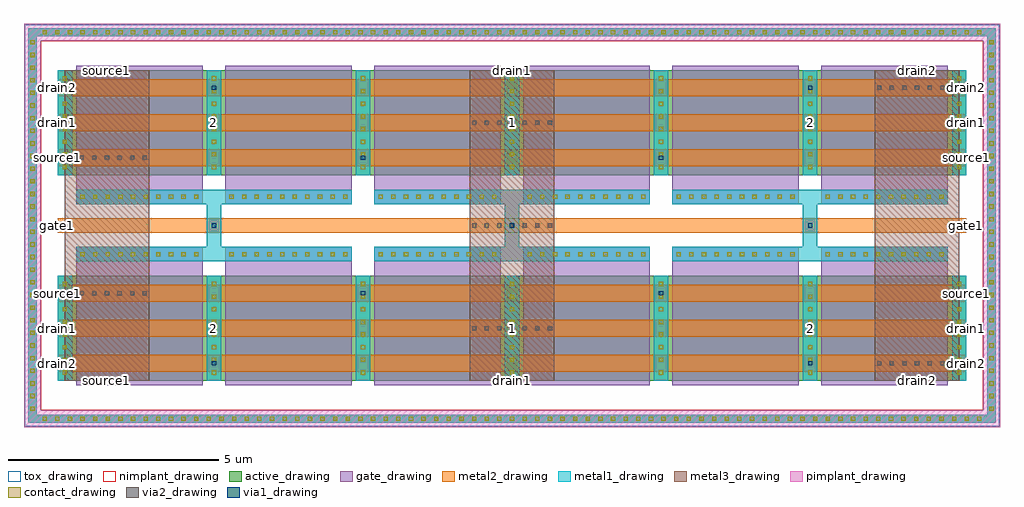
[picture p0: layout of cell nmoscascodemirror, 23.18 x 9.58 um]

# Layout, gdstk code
import gdstk
lib = gdstk.Library(unit=1e-6, precision=1e-09)
def R(c, l, rs):  # rectangles x0, y0, x1, y1
    for r in rs: c.add(gdstk.rectangle(r[:2], r[2:], *l))
def A(c, l, x, y, w, h, nx, ny, dx, dy):  # array of equal rectangles
    R(c, l, [(x+i*dx, y+j*dy, x+i*dx+w, y+j*dy+h) for i in range(nx) for j in range(ny)])
active_drawing = (1, 0)
pimplant_drawing = (4, 0)
nimplant_drawing = (5, 0)
gate_drawing = (6, 0)
contact_drawing = (7, 0)
metal1_drawing = (8, 0)
via1_drawing = (9, 0)
metal2_drawing = (10, 0)
via2_drawing = (11, 0)
metal3_drawing = (12, 0)
tox_drawing = (32, 0)

nmoscascodemirror = lib.new_cell('nmoscascodemirror')
A(nmoscascodemirror, active_drawing, -0.44, 0, 7.42, 2.5, 3, 2, 7.08, 4.88)
R(nmoscascodemirror, active_drawing, [(-1.14,-1,21.84,-0.8), (-1.14,-1,-0.94,8.38), (21.64,-1,21.84,8.38), (-1.14,8.18,21.84,8.38)])
R(nmoscascodemirror, pimplant_drawing, [(-1.24,-1.1,21.94,-0.7), (-1.24,-1.1,-0.84,8.48), (21.54,-1.1,21.94,8.48), (-1.24,8.08,21.94,8.48)])
R(nmoscascodemirror, nimplant_drawing, [(-0.84,-0.7,21.54,8.08)])
A(nmoscascodemirror, gate_drawing, 0, -0.1, 3, 3.28, 6, 2, 3.54, 4.3)
A(nmoscascodemirror, contact_drawing, -0.8, -0.95, 0.1, 0.1, 75, 2, 0.3, 9.18)
A(nmoscascodemirror, contact_drawing, -1.09, -0.71, 0.1, 0.1, 1, 30, 0, 0.3)
A(nmoscascodemirror, contact_drawing, 21.69, -0.71, 0.1, 0.1, 1, 30, 0, 0.3)
A(nmoscascodemirror, contact_drawing, -0.32, 0.15, 0.1, 0.1, 3, 8, 3.54, 0.3)
A(nmoscascodemirror, contact_drawing, 6.76, 0.15, 0.1, 0.1, 3, 8, 3.54, 0.3)
A(nmoscascodemirror, contact_drawing, 13.84, 0.15, 0.1, 0.1, 3, 8, 3.54, 0.3)
A(nmoscascodemirror, contact_drawing, 0.1, 2.96, 0.1, 0.1, 10, 2, 0.3, 1.36)
A(nmoscascodemirror, contact_drawing, 3.64, 2.96, 0.1, 0.1, 10, 2, 0.3, 1.36)
A(nmoscascodemirror, contact_drawing, 7.18, 2.96, 0.1, 0.1, 10, 2, 0.3, 1.36)
A(nmoscascodemirror, contact_drawing, 10.72, 2.96, 0.1, 0.1, 10, 2, 0.3, 1.36)
A(nmoscascodemirror, contact_drawing, 14.26, 2.96, 0.1, 0.1, 10, 2, 0.3, 1.36)
A(nmoscascodemirror, contact_drawing, 17.8, 2.96, 0.1, 0.1, 10, 2, 0.3, 1.36)
A(nmoscascodemirror, contact_drawing, -0.32, 5.03, 0.1, 0.1, 3, 8, 3.54, 0.3)
A(nmoscascodemirror, contact_drawing, 6.76, 5.03, 0.1, 0.1, 3, 8, 3.54, 0.3)
A(nmoscascodemirror, contact_drawing, 13.84, 5.03, 0.1, 0.1, 3, 8, 3.54, 0.3)
A(nmoscascodemirror, metal1_drawing, -0.44, 0, 0.34, 2.5, 3, 2, 3.54, 4.88)
A(nmoscascodemirror, metal1_drawing, 6.64, 0, 0.34, 2.5, 3, 2, 3.54, 4.88)
A(nmoscascodemirror, metal1_drawing, 13.72, 0, 0.34, 2.5, 3, 2, 3.54, 4.88)
A(nmoscascodemirror, metal1_drawing, 3.1, 3.18, 0.34, 0.34, 3, 2, 7.08, 0.68)
R(nmoscascodemirror, metal1_drawing, [(-1.14,-1,21.84,-0.8), (-1.14,-1,-0.94,8.38), (21.64,-1,21.84,8.38), (3.1,0.218,3.44,0.618), (17.26,0.218,17.6,0.618), (10.18,1.05,10.52,1.45), (-0.44,1.882,-0.1,2.282), (6.64,1.882,6.98,2.282), (6.64,1.882,6.98,2.282), (13.72,1.882,14.06,2.282), (13.72,1.882,14.06,2.282), (20.8,1.882,21.14,2.282), (0,2.84,6.54,3.18), (0,2.84,6.54,3.18), (7.08,2.84,13.62,3.18), (7.08,2.84,13.62,3.18), (14.16,2.84,20.7,3.18), (14.16,2.84,20.7,3.18), (3.1,3.52,3.44,3.86), (3.1,3.52,3.44,3.86), (10.18,3.52,10.52,3.86), (10.18,3.52,10.52,3.86), (17.26,3.52,17.6,3.86), (17.26,3.52,17.6,3.86), (0,4.2,6.54,4.54), (0,4.2,6.54,4.54), (7.08,4.2,13.62,4.54), (7.08,4.2,13.62,4.54), (14.16,4.2,20.7,4.54), (14.16,4.2,20.7,4.54), (-0.44,5.098,-0.1,5.498), (6.64,5.098,6.98,5.498), (6.64,5.098,6.98,5.498), (13.72,5.098,14.06,5.498), (13.72,5.098,14.06,5.498), (20.8,5.098,21.14,5.498), (10.18,5.93,10.52,6.33), (3.1,6.762,3.44,7.162), (17.26,6.762,17.6,7.162), (-1.14,8.18,21.84,8.38)])
R(nmoscascodemirror, via1_drawing, [(3.22,0.368,3.32,0.468), (17.38,0.368,17.48,0.468), (10.3,1.2,10.4,1.3), (-0.32,2.032,-0.22,2.132), (6.76,2.032,6.86,2.132), (6.76,2.032,6.86,2.132), (13.84,2.032,13.94,2.132), (13.84,2.032,13.94,2.132), (20.92,2.032,21.02,2.132), (3.22,3.64,3.32,3.74), (3.22,3.64,3.32,3.74), (10.3,3.64,10.4,3.74), (10.3,3.64,10.4,3.74), (17.38,3.64,17.48,3.74), (17.38,3.64,17.48,3.74), (-0.32,5.248,-0.22,5.348), (6.76,5.248,6.86,5.348), (6.76,5.248,6.86,5.348), (13.84,5.248,13.94,5.348), (13.84,5.248,13.94,5.348), (20.92,5.248,21.02,5.348), (10.3,6.08,10.4,6.18), (3.22,6.912,3.32,7.012), (17.38,6.912,17.48,7.012)])
A(nmoscascodemirror, metal2_drawing, -0.44, 0.218, 21.58, 0.4, 1, 3, 0, 0.832)
A(nmoscascodemirror, metal2_drawing, -0.44, 5.098, 21.58, 0.4, 1, 3, 0, 0.832)
R(nmoscascodemirror, metal2_drawing, [(3.1,0.218,3.44,0.618), (17.26,0.218,17.6,0.618), (10.18,1.05,10.52,1.45), (-0.44,1.882,-0.1,2.282), (6.64,1.882,6.98,2.282), (6.64,1.882,6.98,2.282), (13.72,1.882,14.06,2.282), (13.72,1.882,14.06,2.282), (20.8,1.882,21.14,2.282), (-0.44,3.52,21.14,3.86), (3.1,3.52,3.44,3.86), (3.1,3.52,3.44,3.86), (10.18,3.52,10.52,3.86), (10.18,3.52,10.52,3.86), (17.26,3.52,17.6,3.86), (17.26,3.52,17.6,3.86), (-0.44,5.098,-0.1,5.498), (6.64,5.098,6.98,5.498), (6.64,5.098,6.98,5.498), (13.72,5.098,14.06,5.498), (13.72,5.098,14.06,5.498), (20.8,5.098,21.14,5.498), (10.18,5.93,10.52,6.33), (3.1,6.762,3.44,7.162), (17.26,6.762,17.6,7.162)])
A(nmoscascodemirror, via2_drawing, 19.02, 0.368, 0.1, 0.1, 7, 2, 0.3, 6.544)
A(nmoscascodemirror, via2_drawing, 9.4, 1.2, 0.1, 0.1, 7, 2, 0.3, 4.88)
A(nmoscascodemirror, via2_drawing, -0.22, 2.032, 0.1, 0.1, 7, 2, 0.3, 3.216)
R(nmoscascodemirror, via2_drawing, [(9.4,3.64,9.5,3.74), (9.4,3.64,9.5,3.74), (9.4,3.64,9.5,3.74), (9.4,3.64,9.5,3.74), (9.4,3.64,9.5,3.74), (9.4,3.64,9.5,3.74), (9.7,3.64,9.8,3.74), (9.7,3.64,9.8,3.74), (9.7,3.64,9.8,3.74), (9.7,3.64,9.8,3.74), (9.7,3.64,9.8,3.74), (9.7,3.64,9.8,3.74), (10,3.64,10.1,3.74), (10,3.64,10.1,3.74), (10,3.64,10.1,3.74), (10,3.64,10.1,3.74), (10,3.64,10.1,3.74), (10,3.64,10.1,3.74), (10.3,3.64,10.4,3.74), (10.3,3.64,10.4,3.74), (10.3,3.64,10.4,3.74), (10.3,3.64,10.4,3.74), (10.3,3.64,10.4,3.74), (10.3,3.64,10.4,3.74), (10.6,3.64,10.7,3.74), (10.6,3.64,10.7,3.74), (10.6,3.64,10.7,3.74), (10.6,3.64,10.7,3.74), (10.6,3.64,10.7,3.74), (10.6,3.64,10.7,3.74), (10.9,3.64,11,3.74), (10.9,3.64,11,3.74), (10.9,3.64,11,3.74), (10.9,3.64,11,3.74), (10.9,3.64,11,3.74), (10.9,3.64,11,3.74), (11.2,3.64,11.3,3.74), (11.2,3.64,11.3,3.74), (11.2,3.64,11.3,3.74), (11.2,3.64,11.3,3.74), (11.2,3.64,11.3,3.74), (11.2,3.64,11.3,3.74)])
A(nmoscascodemirror, metal3_drawing, -0.27, 0, 2, 7.38, 3, 1, 9.62, 0)
R(nmoscascodemirror, tox_drawing, [(-1.22,-1.08,21.92,8.46)])
nmoscascodemirror.add(gdstk.Label('2', (3.27,1.25), layer=234, texttype=0))
nmoscascodemirror.add(gdstk.Label('1', (10.35,1.25), layer=234, texttype=0))
nmoscascodemirror.add(gdstk.Label('2', (17.43,1.25), layer=234, texttype=0))
nmoscascodemirror.add(gdstk.Label('2', (3.27,6.13), layer=234, texttype=0))
nmoscascodemirror.add(gdstk.Label('1', (10.35,6.13), layer=234, texttype=0))
nmoscascodemirror.add(gdstk.Label('2', (17.43,6.13), layer=234, texttype=0))
nmoscascodemirror.add(gdstk.Label('gate1', (-0.44,3.69), layer=10, texttype=0))
nmoscascodemirror.add(gdstk.Label('gate1', (21.14,3.69), layer=10, texttype=0))
nmoscascodemirror.add(gdstk.Label('source1', (-0.44,2.082), layer=10, texttype=0))
nmoscascodemirror.add(gdstk.Label('source1', (21.14,2.082), layer=10, texttype=0))
nmoscascodemirror.add(gdstk.Label('drain1', (-0.44,1.25), layer=10, texttype=0))
nmoscascodemirror.add(gdstk.Label('drain1', (21.14,1.25), layer=10, texttype=0))
nmoscascodemirror.add(gdstk.Label('drain2', (-0.44,0.418), layer=10, texttype=0))
nmoscascodemirror.add(gdstk.Label('drain2', (21.14,0.418), layer=10, texttype=0))
nmoscascodemirror.add(gdstk.Label('source1', (-0.44,5.298), layer=10, texttype=0))
nmoscascodemirror.add(gdstk.Label('source1', (21.14,5.298), layer=10, texttype=0))
nmoscascodemirror.add(gdstk.Label('drain1', (-0.44,6.13), layer=10, texttype=0))
nmoscascodemirror.add(gdstk.Label('drain1', (21.14,6.13), layer=10, texttype=0))
nmoscascodemirror.add(gdstk.Label('drain2', (-0.44,6.962), layer=10, texttype=0))
nmoscascodemirror.add(gdstk.Label('drain2', (21.14,6.962), layer=10, texttype=0))
nmoscascodemirror.add(gdstk.Label('source1', (0.73,0), layer=12, texttype=0))
nmoscascodemirror.add(gdstk.Label('source1', (0.73,7.38), layer=12, texttype=0))
nmoscascodemirror.add(gdstk.Label('drain1', (10.35,0), layer=12, texttype=0))
nmoscascodemirror.add(gdstk.Label('drain1', (10.35,7.38), layer=12, texttype=0))
nmoscascodemirror.add(gdstk.Label('drain2', (19.97,0), layer=12, texttype=0))
nmoscascodemirror.add(gdstk.Label('drain2', (19.97,7.38), layer=12, texttype=0))

lib.write_gds('nmoscascodemirror.gds')
